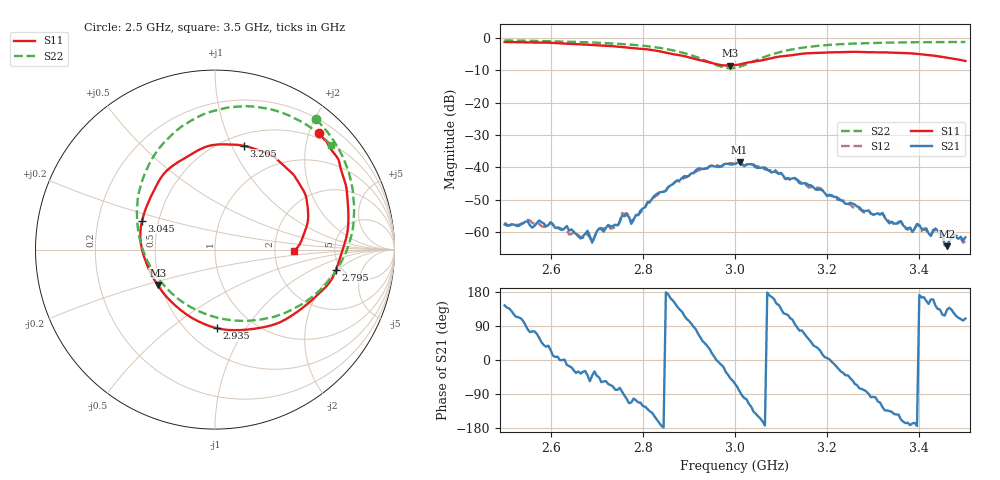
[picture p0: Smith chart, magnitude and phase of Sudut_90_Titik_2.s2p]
# Hz S RI R 50
! CMT, C1220, 16058040, 17.2.0/1
! Date: 15/08/2018 10:48:56
! Data: Format (Calibration Info)
! Freq  S11: Re/Im (F2)  S21: Re/Im (F2)  S12: Re/Im (F2)  S22: Re/Im (F2)
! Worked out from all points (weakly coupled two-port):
!   201 points, 2.5 GHz to 3.5 GHz, reference 50 ohm
!   highest |S21| = -38.42 dB at 3.01 GHz (marker M1); lowest = -64.3 dB at 3.46 GHz (marker M2)
!   lowest |S11| = -8.5 dB at 2.99 GHz (marker M3), VSWR 2.20, Z = 24.1 - j11.1 ohm
!   |S11| at or under -10 dB: nowhere
!   |S22| runs from -9.3 to -0.7 dB; largest |S21 - S12| = 0.00088
!   S11 on the Smith chart (normalised r, x): 2.5 GHz: 0.41, +2.18; 2.795 GHz: 4.51, -1.88; 2.935 GHz: 0.69, -0.75; 3.045 GHz: 0.40, +0.16; 3.205 GHz: 0.62, +1.12; 3.5 GHz: 2.59, -0.04
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2.5e9  0.5807 0.6472  -0.00106 0.000772  -0.00114 0.000818  0.5635 0.7255
2.6e9  0.6923 0.486  0.00128 0.000611  0.00127 0.000643  0.6721 0.5893
2.67e9  0.7358 0.3104  0.000744 -0.000446  0.000704 -0.000414  0.7367 0.4543
2.69e9  0.7408 0.2464  0.000518 -0.00045  0.000523 -0.000461  0.751 0.4091
2.705e9  0.7432 0.2011  0.000794 -0.000816  0.000784 -0.000803  0.7604 0.3702
2.745e9  0.734 0.0781  0.000245 -0.00125  0.000387 -0.00114  0.7737 0.2606
2.755e9  0.7246 0.0416  0.0002 -0.00182  0.000311 -0.00195  0.7752 0.2308
2.775e9  0.703 -0.027  -0.000497 -0.00125  -0.00059 -0.00127  0.7729 0.1641
2.795e9  0.675 -0.111  -0.000836 -0.002  -0.00082 -0.00186  0.7634 0.0925
2.835e9  0.5755 -0.2492  -0.00396 -0.00107  -0.00376 -0.00119  0.7042 -0.0675
2.935e9  0.00897 -0.4378  0.00691 0.00661  0.00665 0.00697  0.2207 -0.3935
2.99e9  -0.319 -0.1978  0.00734 -0.00833  0.00782 -0.00864  -0.211 -0.2704
3e9  -0.3575 -0.1334  0.00516 -0.0101  0.00457 -0.0104  -0.2753 -0.2091
3.01e9  -0.3863 -0.0646  0.00152 -0.0119  0.00154 -0.0114  -0.3313 -0.141
3.045e9  -0.4059 0.1617  -0.00787 -0.00619  -0.0081 -0.00672  -0.431 0.1309
3.17e9  0.0317 0.5858  0.00387 0.0031  0.00363 0.00342  -0.0925 0.7405
3.205e9  0.1626 0.5775  0.00369 0.000112  0.0038 -7.38e-05  0.0362 0.7839
3.335e9  0.4641 0.3766  -0.000961 -0.000972  -0.00107 -0.00095  0.3924 0.7553
3.435e9  0.5127 0.1372  -0.000914 0.000681  -0.000837 0.0007  0.5624 0.6584
3.46e9  0.4914 0.075  -0.000409 0.000449  -0.000391 0.000468  0.5968 0.6317
3.475e9  0.4774 0.0407  -0.000533 0.000805  -0.000485 0.00076  0.6144 0.6143
3.5e9  0.4425 -0.00671  -0.000276 0.000784  -0.00023 0.000686  0.6439 0.5846
